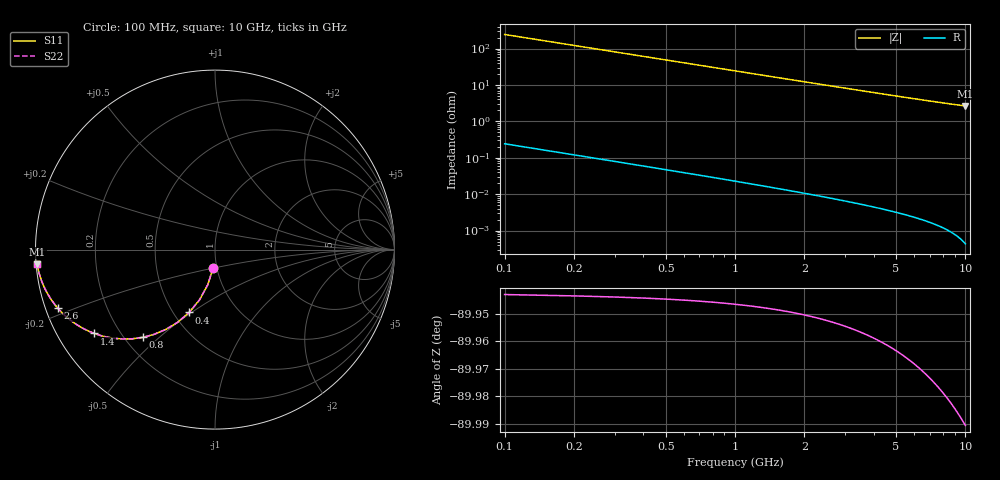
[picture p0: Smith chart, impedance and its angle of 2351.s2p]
# Hz S RI R 50.00
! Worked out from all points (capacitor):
!   100 points, 100 MHz to 10 GHz, reference 50 ohm
!   read as one part in shunt: C = 6.53 pF near 100 MHz
!   lowest |Z| = 2.65 ohm at 10 GHz (marker M1)
!   S11 on the Smith chart (normalised r, x): 100 MHz: 0.96, -0.20; 400 MHz: 0.60, -0.49; 800 MHz: 0.27, -0.44; 1.4 GHz: 0.11, -0.31; 2.6 GHz: 0.03, -0.18; 10 GHz: 0.00, -0.04
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1e8  -0.0104 -0.1013  0.9894 -0.1016  0.9894 -0.1016  -0.0104 -0.1013
2e8  -0.0405 -0.1965  0.9594 -0.197  0.9594 -0.197  -0.0405 -0.1965
3e8  -0.0866 -0.2805  0.9132 -0.2812  0.9132 -0.2812  -0.0866 -0.2805
4e8  -0.1442 -0.3504  0.8556 -0.3513  0.8556 -0.3513  -0.1442 -0.3504
5e8  -0.2083 -0.4051  0.7915 -0.4062  0.7915 -0.4062  -0.2083 -0.4051
6e8  -0.2747 -0.4453  0.7251 -0.4466  0.7251 -0.4466  -0.2747 -0.4453
7e8  -0.3402 -0.4725  0.6597 -0.4741  0.6597 -0.4741  -0.3402 -0.4725
8e8  -0.4023 -0.489  0.5975 -0.4908  0.5975 -0.4908  -0.4023 -0.489
9e8  -0.46 -0.4969  0.5398 -0.4989  0.5398 -0.4989  -0.46 -0.4969
1.1e9  -0.5599 -0.4946  0.4399 -0.4971  0.4399 -0.4971  -0.5599 -0.4946
1.2e9  -0.6022 -0.4876  0.3976 -0.4903  0.3976 -0.4903  -0.6022 -0.4876
1.4e9  -0.6733 -0.4669  0.3266 -0.47  0.3266 -0.47  -0.6733 -0.4669
1.6e9  -0.7291 -0.4421  0.2707 -0.4457  0.2707 -0.4457  -0.7291 -0.4421
1.8e9  -0.773 -0.4162  0.2268 -0.4203  0.2268 -0.4203  -0.773 -0.4162
2.2e9  -0.8358 -0.3674  0.164 -0.3723  0.164 -0.3723  -0.8358 -0.3674
2.6e9  -0.8767 -0.3252  0.1231 -0.3311  0.1231 -0.3311  -0.8767 -0.3252
3.4e9  -0.9241 -0.2603  0.0757 -0.268  0.0757 -0.268  -0.9241 -0.2603
4.2e9  -0.949 -0.2144  0.0507 -0.2239  0.0507 -0.2239  -0.949 -0.2144
5.1e9  -0.9649 -0.1772  0.0348 -0.1888  0.0348 -0.1888  -0.9649 -0.1772
6.7e9  -0.9795 -0.1328  0.0202 -0.1482  0.0202 -0.1482  -0.9795 -0.1328
8.4e9  -0.987 -0.1021  0.0126 -0.1217  0.0126 -0.1217  -0.987 -0.1021
1e10  -0.9908 -0.0815  0.00866 -0.1052  0.00866 -0.1052  -0.9908 -0.0815
